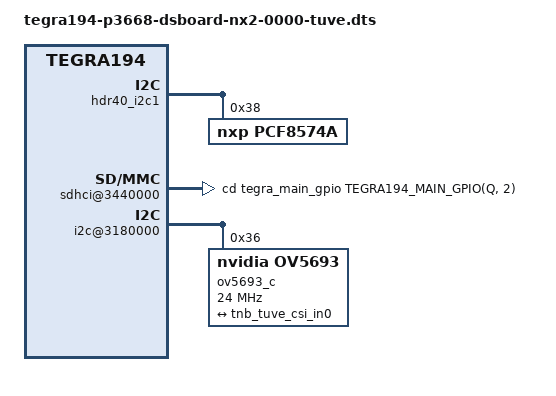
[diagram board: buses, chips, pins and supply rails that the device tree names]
/*
 * Top level DTS file for CVM:P3668-0001 and CVB:DSBOARD-NX2.
 *
 * Copyright (c) 2020-2021, Mist Elektronik Biyomedikal Ltd. Şti.  All rights reserved.
 *
 * This program is free software; you can redistribute it and/or modify
 * it under the terms of the GNU General Public License as published by
 * the Free Software Foundation; version 2 of the License.
 *
 * This program is distributed in the hope that it will be useful, but WITHOUT
 * ANY WARRANTY; without even the implied warranty of MERCHANTABILITY or
 * FITNESS FOR A PARTICULAR PURPOSE.  See the GNU General Public License for
 * more details.
 */

/dts-v1/;
#include "common/tegra194-p3668-common.dtsi"
#include "common/tegra194-p3509-0000-a00.dtsi"

#undef CAM_I2C_MUX
#define CAM_I2C_MUX 	TEGRA194_MAIN_GPIO(Q, 6)

/ {
	nvidia,dtsfilename = __FILE__;
	nvidia,dtbbuildtime = __DATE__, __TIME__;

	compatible = "nvidia,p3449-0000+p3668-0000", "nvidia,p3449-0000+p3668-0001", "nvidia,p3509-0000+p3668-0000", "nvidia,p3509-0000+p3668-0001", "nvidia,tegra194";

	hdr40_i2c1: i2c@31e0000 {
		pcf8574a: gpio@38 {
			compatible = "nxp,pcf8574a";
			reg = <0x38>;
			//interrupt-parent = <&irqpin2>;
			//interrupts = <3 0>;
			gpio-controller;
			#gpio-cells = <2>;
			//interrupt-controller;
			//#interrupt-cells = <2>;
		};
	};

	pcie@141a0000{
		nvidia,max-speed = <2>;
	};

	cam_i2cmux{
		mux-gpios = <&tegra_main_gpio CAM_I2C_MUX GPIO_ACTIVE_HIGH>;
	};

	sdhci@3440000 {
		cd-gpios = <&tegra_main_gpio TEGRA194_MAIN_GPIO(Q, 2) 0>;
		nvidia,vmmc-always-on;
		disable-wp;
		status = "okay";
	};

	pwm-fan {
		status = "disabled";
	};

	gpio@c2f0000 {
		w-disable1 {
			gpio-hog;
			output-high;
			gpios = <TEGRA194_AON_GPIO(CC, 2) GPIO_ACTIVE_LOW>;
			label = "w-disable1";
			status = "disabled";
		};
	};

	// TUVE camera implementation
	i2c@3180000 {
		ov5693_c@36 {
			compatible = "nvidia,ov5693";
			reg = <0x36>;
			devnode = "video0";
			physical_w = "3.674";
			physical_h = "2.738";
			sensor_model = "ov5693";
			use_sensor_mode_id = "true";
			vana-supply = <0x16e>;
			vif-supply = <0x16c>;
			avdd-reg = "vana";
			iovdd-reg = "vif";
			reset-gpios = <0x13 0x7d 0x0>;
			clocks = <0x4 0x25 0x4 0x66>;
			clock-names = "extperiph2", "pllp_grtba";
			mclk = "extperiph2";
			clock-frequency = <0x16e3600>;
			linux,phandle = <0x187>;
			phandle = <0x187>;
			status = "okay";

			mode0 {
				tegra_sinterface = "serial_c";
				pix_clk_hz = "54000000";
				active_h = "480";
				active_w = "1280";
				line_length = "1280";
				discontinuous_clk = "no";
				num_lanes = "1";
				phy_mode = "DPHY";
				mode_type = "yuv";
				pixel_phase = "yuyv";
				csi_pixel_bit_depth = "16";

				framerate_factor = "1000000";
				min_framerate = "1816577";
				max_framerate = "30000000";
				step_framerate = [31 00];
				default_framerate = "30000000";
				cil_settletime = [30 00];

				gain_factor = "10";
				min_gain_val = "10";
				max_gain_val = "160";
				step_gain_val = [31 00];
				default_gain = "10";

				min_hdr_ratio = [31 00];
				max_hdr_ratio = [31 00];
				exposure_factor = "1000000";
				min_exp_time = "34";
				max_exp_time = "550385";
				step_exp_time = [31 00];
				default_exp_time = "33334";

				mclk_khz = "24000";
				mclk_multiplier = "6.67";

				readout_orientation = "90";
				dpcm_enable = "false";
				inherent_gain = [31 00];
				embedded_metadata_height = [30 00];
			};

			ports {
				#address-cells = <0x1>;
				#size-cells = <0x0>;

				port@0 {
					reg = <0x0>;

					tnb_tuve_out0: endpoint {
						status = "okay";
						port-index = <0x2>;
						bus-width = <0x1>;
						remote-endpoint = <&tnb_tuve_csi_in0>;
					};
				};
			};
		};
	};

	host1x {
		vi@15c10000  {
			num-channels = <1>;
			ports {
				#address-cells = <1>;
				#size-cells = <0>;
				vi_port0: port@0 {
					reg = <0>;
					tnb_tuve_vi_in0: endpoint {
						port-index = <2>;
						bus-width = <1>;
						remote-endpoint = <&tnb_tuve_csi_out0>;
					};
				};
			};
		};

		nvcsi@15a00000 {
			num-channels = <1>;
			#address-cells = <1>;
			#size-cells = <0>;
			csi_chan0: channel@0 {
				reg = <0>;
				ports {
					#address-cells = <1>;
					#size-cells = <0>;
					csi_chan0_port0: port@0 {
						reg = <0>;
						tnb_tuve_csi_in0: endpoint@0 {
							port-index = <2>;
							bus-width = <1>;
							remote-endpoint = <&tnb_tuve_out0>;
						};
					};
					csi_chan0_port1: port@1 {
						reg = <1>;
						tnb_tuve_csi_out0: endpoint@1 {
							remote-endpoint = <&tnb_tuve_vi_in0>;
						};
					};
				};
			};
		};
	};

	cam_i2cmux {
		status = "disabled";

		i2c@0 {
			status = "disabled";

			rbpcv2_imx219_a@10 {
				status = "disabled";
			};
		};

		i2c@1 {
			status = "disabled";

			rbpcv2_imx219_c@10 {
				status = "disabled";
			};
		};
	};

	tegra-camera-platform {
		num_csi_lanes = <0x1>;

		modules {
			module0 {
				badge = "tnb_front_tuvi";
				position = "front";
				orientation = [31 00];

				drivernode0 {
					pcl_id = "v4l2_sensor";
					devname = "ov5693 2-0036";
					proc-device-tree = "/proc/device-tree/i2c@3180000/ov5693_c@36";
				};

				drivernode1 {
					pcl_id = "v4l2_lens";
					proc-device-tree = "/proc/device-tree/lens_imx219@RBPCV2/";
				};
			};
		};
	};

};

